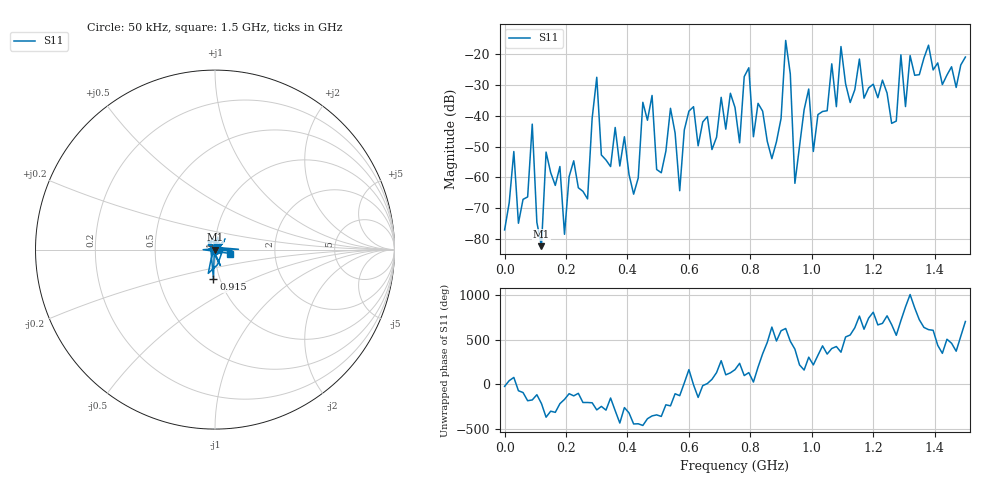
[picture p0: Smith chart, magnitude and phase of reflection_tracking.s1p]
! Created with skrf 1.8.0 (http://scikit-rf.org).
# Hz S RI R 50.0
!freq ReS11 ImS11
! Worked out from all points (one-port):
!   101 points, 50 kHz to 1.5 GHz, reference 50 ohm
!   lowest |S11| = -82.2 dB at 120 MHz (marker M1), VSWR 1.00, Z = 50 + j0.00464 ohm
!   |S11| at or under -10 dB: start of sweep to end of sweep
!   S11 on the Smith chart (normalised r, x): 50 kHz: 1.00, -0.00; 915 MHz: 0.93, -0.31; 1.5 GHz: 1.19, -0.05
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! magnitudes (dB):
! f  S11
! 50 kHz  -77.0
! 75.05 MHz  -66.3
! 90.05 MHz  -42.8
! 120 MHz  -82.2
! 135 MHz  -51.8
! 195 MHz  -78.4
! 225 MHz  -54.6
! 270 MHz  -66.9
! 300 MHz  -27.6
! 315 MHz  -52.7
! 375 MHz  -56.3
! 420 MHz  -65.4
! 480 MHz  -33.5
! 495 MHz  -57.4
! 540 MHz  -37.6
! 570 MHz  -64.3
! 600 MHz  -38.6
! 750 MHz  -37.4
! 795 MHz  -24.5
! 870 MHz  -53.9
! 915 MHz  -15.7
! 945 MHz  -61.9
! 990 MHz  -31.4
! 1.005 GHz  -51.6
! 1.095 GHz  -17.7
! 1.125 GHz  -35.8
! 1.32 GHz  -20.6
! 1.5 GHz  -21.1
